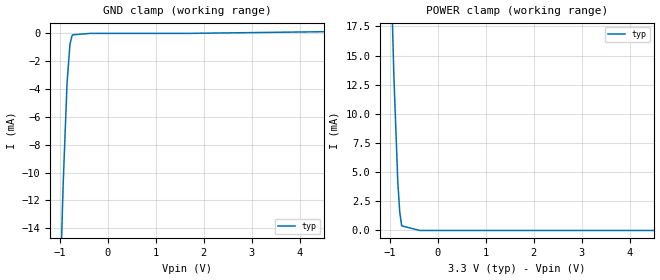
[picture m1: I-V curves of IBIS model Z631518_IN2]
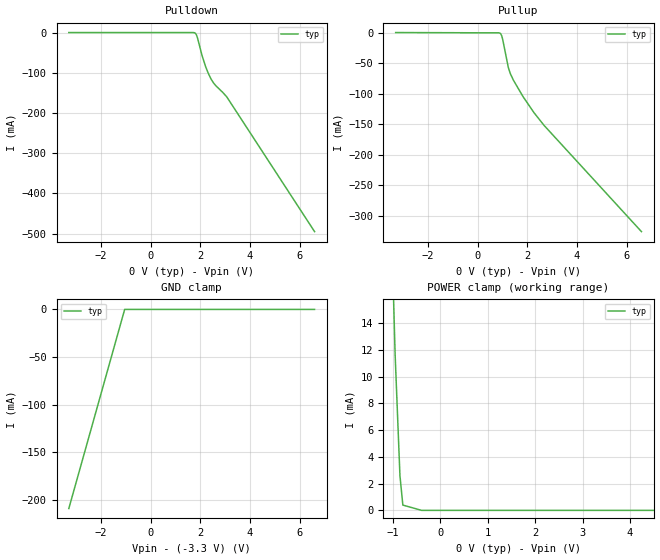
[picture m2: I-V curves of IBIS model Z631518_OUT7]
| YOU ARE ONLY AUTHORIZED TO USE THIS SOFTWARE
| ACCORDING TO LICENSOR'S LICENSE RESTRICTIONS.
[IBIS Ver] 3.1
[File Name] mc100ept24dt_-33.ibs
[File Rev] .1
[Source] Measured and created by ICX Technology and derived from
|   package MC100EP01DT_33
[Date] 11/8/01
[Copyright]
| (C) COPYRIGHT 1993-2000
| MENTOR GRAPHICS CORPORATION
| ICX STANDARD LIBRARY, ICX PROJECT MODELING,
| ICX CUSTOM MODELING, ICX VENDOR MODEL
| ALL RIGHTS RESERVED.
| THE FOLLOWING ARE TRADEMARKS OR SERVICE MARKS OF
| MENTOR GRAPHICS CORPORATION:ICX (R), ICX STANDARD
| LIBRARY(R), ICX PROJECT MODELING(R), ICX CUSTOM
| MODELING(R), qualityIBIS(TM), MODELVIEWER(TM),
| AND MODELEDITOR(TM)
| ALL COPIES OF SOFTWARE, INCLUDING BUT NOT LIMITED TO
| ANY MODIFICATIONS, ENHANCEMENTS OR DERIVATIVE WORKS,
| MUST CONTAIN ALL MENTOR GRAPHICS CORPORATION'S
| NOTICES AND LEGENDS, INCLUDING THOSE EMBEDDED IN
| SOFTWARE AND THOSE AFFIXED TO SOFTWARE MEDIUM
| AND CONTAINER, AS RECEIVED FROM MENTOR GRAPHICS
| CORPORATION.
|  ZAP Model Builder 2.8
[Component] MC100EPT24DT_-33
[Manufacturer] OnSemiconductor
[Package]
| variable   typ   min   max
R_pkg  .044ohms NA NA
L_pkg  1.82nH NA NA
C_pkg  .083pF NA NA
[Pin] signal_name  model_name  R_pin  L_pin C_pin
1 VEE POWER .044 1.802n .083p
2 D Z631518_IN2 .044 1.802n .083p
3 NC NC .044 1.802n .083p
4 NC NC .044 1.802n .083p
5 GND GND .044 1.802n .083p
6 _Q Z631518_OUT7 .044 1.802n .083p
7 Q Z631518_OUT7 .044 1.802n .083p
8 VCC POWER .044 1.802n .083p
[Diff Pin] inv_pin vdiff tdelay_typ tdelay_min tdelay_max
7 6 NA NA NA NA
| Models and submodels in the file (2): Z631518_IN2 (Input), Z631518_OUT7 (Output_ECL)
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| (C) COPYRIGHT 1993-2000
| MENTOR GRAPHICS CORPORATION
| ICX STANDARD LIBRARY, ICX PROJECT MODELING,
| ICX CUSTOM MODELING, ICX VENDOR MODEL
| ALL RIGHTS RESERVED.
| THE FOLLOWING ARE TRADEMARKS OR SERVICE MARKS OF
| MENTOR GRAPHICS CORPORATION:ICX (R), ICX STANDARD
| LIBRARY(R), ICX PROJECT MODELING(R), ICX CUSTOM
| MODELING(R), qualityIBIS(TM), MODELVIEWER(TM),
| AND MODELEDITOR(TM)
| ALL COPIES OF SOFTWARE, INCLUDING BUT NOT LIMITED TO
| ANY MODIFICATIONS, ENHANCEMENTS OR DERIVATIVE WORKS,
| MUST CONTAIN ALL MENTOR GRAPHICS CORPORATION'S
| NOTICES AND LEGENDS, INCLUDING THOSE EMBEDDED IN
| SOFTWARE AND THOSE AFFIXED TO SOFTWARE MEDIUM
| AND CONTAINER, AS RECEIVED FROM MENTOR GRAPHICS
| CORPORATION.
| Model Application Version 1.89 2/18/99.
[Model] Z631518_IN2
Model_type Input
Vinl = 800.0mV
Vinh = 2.000V
C_comp 3.000pF NA NA
| variable typ   min   max
[Voltage Range] 3.300V NA NA
[GND Clamp Reference] 0.000V NA NA
[POWER Clamp Reference] 3.300V NA NA
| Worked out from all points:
|   GND clamp passes 1 mA (typ) near -0.79 V on its own axis
|   POWER clamp passes 1 mA (typ) near -0.77 V on its own axis
[GND Clamp]
-3.3V     -297.4mA   NA         NA
-932mV    -10.9mA    NA         NA
-851mV    -3.6mA     NA         NA
-790mV    -800uA     NA         NA
-750mV    -200uA     NA         NA
-729mV    -100uA     NA         NA
-364.5mV  0A         NA         NA
1.662V    0A         NA         NA
6.6V      210uA      NA         NA
[POWER Clamp]
-3.3V     434.1mA    NA         NA
-1.058V   34.79mA    NA         NA
-916mV    13.19mA    NA         NA
-835mV    4.195mA    NA         NA
-795mV    1.597mA    NA         NA
-754mV    398.3uA    NA         NA
-377mV    0A         NA         NA
6.6V      0A         NA         NA
| (C) COPYRIGHT 1993-2000
| MENTOR GRAPHICS CORPORATION
| ICX STANDARD LIBRARY, ICX PROJECT MODELING,
| ICX CUSTOM MODELING, ICX VENDOR MODEL
| ALL RIGHTS RESERVED.
| THE FOLLOWING ARE TRADEMARKS OR SERVICE MARKS OF
| MENTOR GRAPHICS CORPORATION:ICX (R), ICX STANDARD
| LIBRARY(R), ICX PROJECT MODELING(R), ICX CUSTOM
| MODELING(R), qualityIBIS(TM), MODELVIEWER(TM),
| AND MODELEDITOR(TM)
| ALL COPIES OF SOFTWARE, INCLUDING BUT NOT LIMITED TO
| ANY MODIFICATIONS, ENHANCEMENTS OR DERIVATIVE WORKS,
| MUST CONTAIN ALL MENTOR GRAPHICS CORPORATION'S
| NOTICES AND LEGENDS, INCLUDING THOSE EMBEDDED IN
| SOFTWARE AND THOSE AFFIXED TO SOFTWARE MEDIUM
| AND CONTAINER, AS RECEIVED FROM MENTOR GRAPHICS
| CORPORATION.
| Model Application Version 1.89 2/18/99.
[Model] Z631518_OUT7
Model_type Output_ECL
Vref=-2.000V
Rref=50.00ohms
Cref=0.000F
Vmeas=-1.410V
C_comp 8.000pF NA NA
| variable typ   min   max
[Voltage Range] -3.300V NA NA
[POWER Clamp Reference] 0.000V NA NA
[Pullup Reference] 0.000V NA NA
[Pulldown Reference] 0.000V NA NA
[GND Clamp Reference] -3.300V NA NA
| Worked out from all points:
|   POWER clamp passes 1 mA (typ) near -0.81 V on its own axis
[GND Clamp]
-3.3V     -208.9mA   NA         NA
-1.05V    0A         NA         NA
6.6V      0A         NA         NA
[Pulldown]
-3.3V     0A         NA         NA
1.682V    0A         NA         NA
1.804V    -2.1mA     NA         NA
1.844V    -6.3mA     NA         NA
1.885V    -13.7mA    NA         NA
2.067V    -57.2mA    NA         NA
2.209V    -84.4mA    NA         NA
2.311V    -100.4mA   NA         NA
2.432V    -116mA     NA         NA
2.635V    -133mA     NA         NA
3.061V    -159.8mA   NA         NA
6.6V      -494.9mA   NA         NA
[Pullup]
-3.3V     422.6uA    NA         NA
831mV     0A         NA         NA
932mV     -1.6mA     NA         NA
973mV     -5.1mA     NA         NA
1.014V    -11.5mA    NA         NA
1.236V    -56.7mA    NA         NA
1.317V    -66.8mA    NA         NA
1.439V    -77.4mA    NA         NA
1.824V    -104.2mA   NA         NA
2.27V     -130.8mA   NA         NA
2.675V    -151.6mA   NA         NA
6.6V      -325.7mA   NA         NA
[POWER Clamp]
-3.3V     384mA      NA         NA
-1.034V   21.96mA    NA         NA
-953mV    11.67mA    NA         NA
-851mV    2.587mA    NA         NA
-790mV    394.9uA    NA         NA
-395mV    0A         NA         NA
6.6V      0A         NA         NA
[Ramp]
| variable typ min max
dV/dt_r 460.7m/113.9p NA NA
dV/dt_f 460.7m/107.4p NA NA
R_load = 50.00Ohms
